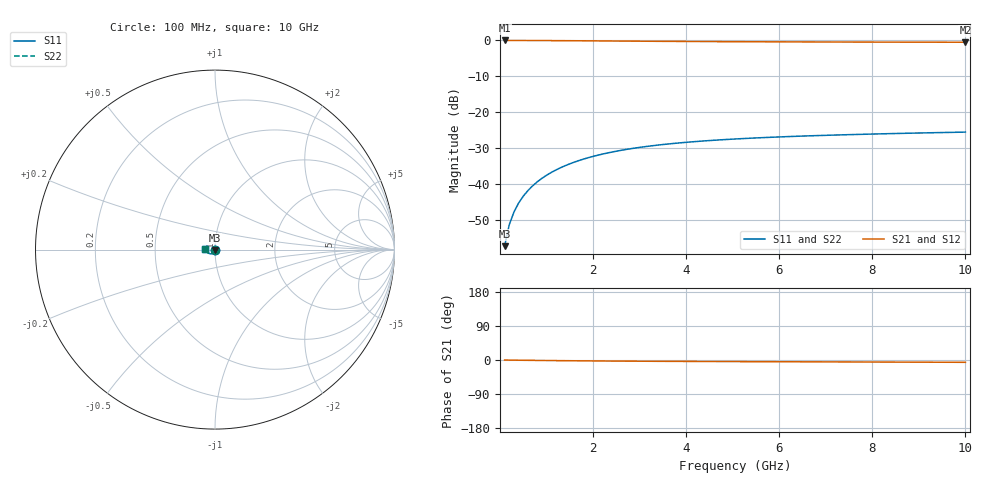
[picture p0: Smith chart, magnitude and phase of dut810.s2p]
! Touchstone file exported from HFSS 2024.1.0
!  File:  C:/UserFiles/LocalFiles/RDL_TSV_Batchsim/temp_TSV1_810_1779877222.aedt
!  Generated:  06:25:06 PM May 27, 2026
!  Design:  TSV1
!  Project:  temp_TSV1_810_1779877222
!  Setup:  Setup1
!  Solution:  Sweep
! Variables:
!  dtsv = 9.41um
!  hbump = 3um
!  htsv = 97.12um
!  lrdl = 252.1521522um
!  p = 40
!  p1 = 48.26um
!  t = 500um
!  trdl = 3um
!  wrdl = 24.89489489um
# GHz S MA R 50.000000
! Terminal data exported
! Port[1] = TSV22_T1
! Port[2] = TSV22_T2
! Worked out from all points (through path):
!   100 points, 100 MHz to 10 GHz, reference 50 ohm
!   highest |S21| = 0.00 dB at 100 MHz (marker M1); lowest = -0.5 dB at 10 GHz (marker M2)
!   lowest |S11| = -57.2 dB at 100 MHz (marker M3), VSWR 1.00, Z = 50 - j0.137 ohm
!   |S11| at or under -10 dB: start of sweep to end of sweep
!   |S22| runs from -57.2 to -25.5 dB; largest |S21 - S12| = 3e-15
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0.1  0.00138 -84.0  0.9998 -0.1  0.9998 -0.1  0.00138 -84.0
! Gamma 0 0 0 0
! Port Impedance 50 0 50 0
0.2  0.002743 -89.4  0.9996 -0.3  0.9996 -0.3  0.002743 -89.4
0.3  0.004109 -92.4  0.9994 -0.4  0.9994 -0.4  0.004109 -92.4
0.4  0.005472 -94.8  0.9991 -0.6  0.9991 -0.6  0.005472 -94.8
0.5  0.006825 -96.9  0.9987 -0.7  0.9987 -0.7  0.006825 -96.9
0.6  0.008166 -98.9  0.9982 -0.8  0.9982 -0.8  0.008166 -98.9
0.7  0.009491 -100.8  0.9977 -1.0  0.9977 -1.0  0.009491 -100.8
0.8  0.0108 -102.7  0.9971 -1.1  0.9971 -1.1  0.0108 -102.7
0.9  0.01208 -104.5  0.9965 -1.2  0.9965 -1.2  0.01208 -104.5
1.1  0.01458 -108.0  0.995 -1.5  0.995 -1.5  0.01458 -108.0
1.4  0.01813 -113.0  0.9925 -1.8  0.9925 -1.8  0.01813 -113.0
1.6  0.02036 -116.2  0.9906 -2.0  0.9906 -2.0  0.02035 -116.2
1.8  0.02246 -119.2  0.9886 -2.2  0.9886 -2.2  0.02246 -119.2
2.1  0.02538 -123.5  0.9856 -2.5  0.9856 -2.5  0.02538 -123.5
2.5  0.02886 -128.9  0.9815 -2.8  0.9815 -2.8  0.02886 -128.9
2.9  0.03189 -133.9  0.9776 -3.1  0.9776 -3.1  0.03189 -133.9
3.4  0.03513 -139.5  0.973 -3.4  0.973 -3.4  0.03513 -139.5
4.2  0.03927 -147.3  0.9666 -3.8  0.9666 -3.8  0.03927 -147.3
5.1  0.04282 -154.8  0.9608 -4.2  0.9608 -4.2  0.04282 -154.8
6.7  0.0473 -165.6  0.9532 -4.9  0.9532 -4.9  0.0473 -165.6
8.4  0.05067 -174.8  0.9479 -5.5  0.9479 -5.5  0.05067 -174.8
10  0.05318 178.0  0.9445 -6.1  0.9445 -6.1  0.05318 177.9
